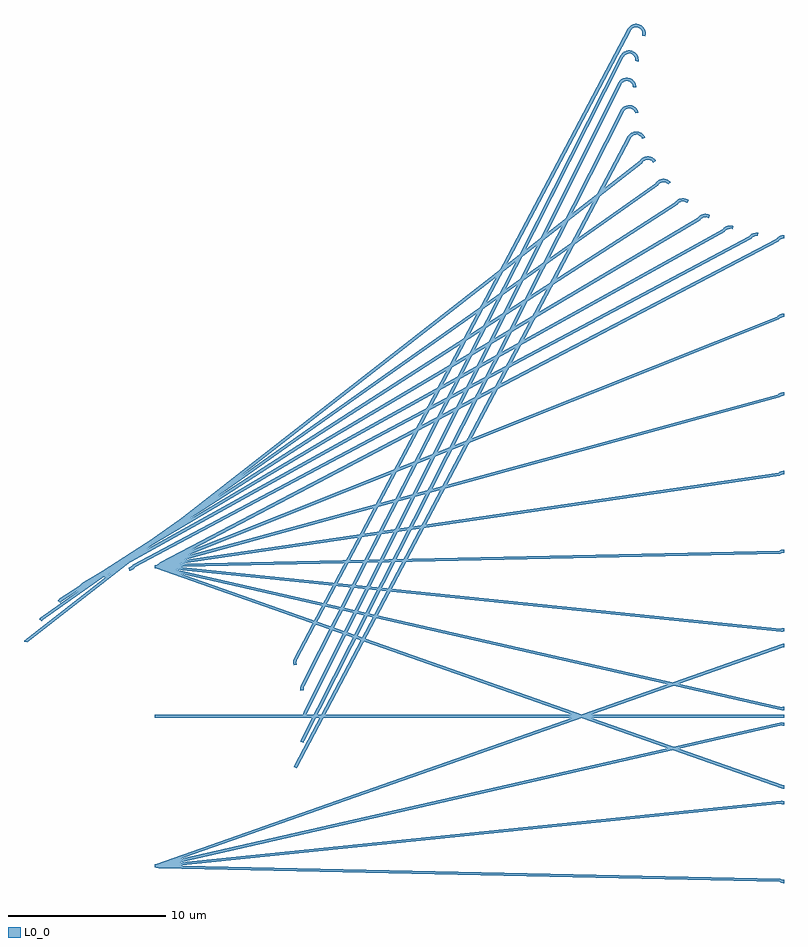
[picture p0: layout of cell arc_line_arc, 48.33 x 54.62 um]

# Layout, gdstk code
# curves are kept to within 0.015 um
import gdstk
lib = gdstk.Library(unit=1e-6, precision=5e-09)
def R(c, l, rs):  # rectangles x0, y0, x1, y1
    for r in rs: c.add(gdstk.rectangle(r[:2], r[2:], *l))
def P(c, l, *ps):  # polygons
    for p in ps: c.add(gdstk.Polygon(p, *l))
L0_0 = (0, 0)

arc_line_arc = lib.new_cell('arc_line_arc')
R(arc_line_arc, L0_0, [(0,-0.1,40,0.1)])
P(arc_line_arc, L0_0, [(0,9.6),(0.155,9.63),(0.28,9.71),(0.335,9.78),(39.535,30.38),(39.705,30.525),(39.845,30.58),(40,30.6),(40,30.4),(39.845,30.37),(39.72,30.29),(39.665,30.22),(0.465,9.62),(0.295,9.475),(0.155,9.42),(0,9.4)],
  [(-1.67,9.455),(-1.545,9.495),(-1.4,9.63),(37.8,30.53),(37.96,30.675),(38.19,30.75),(38.37,30.745),(38.33,30.545),(38.21,30.55),(38.075,30.505),(37.92,30.37),(-1.27,9.47),(-1.43,9.33),(-1.63,9.255)],
  [(-3.285,9.02),(-3.145,9.105),(-3.08,9.18),(36.11,30.97),(36.275,31.125),(36.51,31.2),(36.77,31.175),(36.73,30.975),(36.585,31.005),(36.475,30.99),(36.375,30.945),(36.24,30.82),(-2.95,9.03),(-3.155,8.855),(-3.215,8.83)],
  [(-4.81,8.305),(-4.72,8.37),(-4.66,8.45),(34.52,31.7),(34.71,31.87),(34.945,31.94),(35.09,31.935),(35.285,31.87),(35.215,31.68),(35.02,31.74),(34.82,31.7),(34.705,31.615),(34.66,31.55),(-4.52,8.3),(-4.69,8.145)],
  [(-6.185,7.335),(-6.08,7.46),(33.085,32.69),(33.29,32.875),(33.525,32.94),(33.625,32.94),(33.86,32.87),(33.955,32.805),(33.835,32.645),(33.725,32.71),(33.605,32.74),(33.445,32.72),(33.35,32.67),(33.225,32.54),(-5.94,7.31),(-6.025,7.215)],
  [(-7.355,6.165),(-7.315,6.23),(31.835,33.9),(32.045,34.1),(32.28,34.17),(32.4,34.17),(32.615,34.11),(32.795,33.965),(32.655,33.825),(32.515,33.93),(32.38,33.97),(32.22,33.955),(32.08,33.88),(31.995,33.77),(-7.155,6.1),(-7.195,6.045)],
  [(-8.325,4.75),(-8.325,4.805),(30.83,35.31),(30.91,35.42),(31.03,35.52),(31.29,35.6),(31.53,35.57),(31.65,35.515),(31.83,35.35),(31.855,35.31),(31.695,35.19),(31.61,35.295),(31.47,35.38),(31.31,35.4),(31.185,35.37),(31.085,35.31),(30.98,35.18),(-8.125,4.705),(-8.125,4.75)],
  [(8.835,-3.205),(30.075,36.87),(30.255,37.07),(30.445,37.16),(30.66,37.18),(30.87,37.12),(31.06,36.97),(31.17,36.785),(30.98,36.715),(30.865,36.885),(30.72,36.965),(30.585,36.98),(30.415,36.935),(30.305,36.85),(30.245,36.76),(9.015,-3.295)],
  [(9.255,-1.63),(9.31,-1.465),(29.615,38.54),(29.75,38.71),(29.87,38.8),(29.965,38.835),(30.185,38.865),(30.445,38.79),(30.635,38.62),(30.685,38.545),(30.745,38.37),(30.545,38.33),(30.515,38.435),(30.45,38.535),(30.315,38.63),(30.215,38.66),(30.025,38.645),(29.88,38.56),(29.815,38.48),(9.48,-1.57),(9.455,-1.67)],
  [(9.4,0),(9.45,0.245),(29.475,40.295),(29.615,40.46),(29.775,40.56),(30.05,40.6),(30.26,40.545),(30.43,40.42),(30.51,40.32),(30.58,40.155),(30.6,40),(30.4,40),(30.375,40.145),(30.33,40.23),(30.255,40.31),(30.11,40.385),(29.97,40.4),(29.845,40.37),(29.71,40.28),(29.665,40.215),(9.625,0.145),(9.6,0)],
  [(9.255,1.63),(9.25,1.81),(9.31,2.005),(29.64,42.06),(29.825,42.245),(30.02,42.325),(30.205,42.335),(30.445,42.265),(30.61,42.125),(30.695,42),(30.745,41.84),(30.745,41.63),(30.545,41.67),(30.545,41.825),(30.49,41.95),(30.415,42.04),(30.265,42.12),(30.03,42.12),(29.865,42.02),(29.79,41.91),(9.49,1.925),(9.45,1.79),(9.455,1.67)],
  [(8.825,3.23),(8.795,3.44),(8.865,3.695),(30.075,43.71),(30.255,43.91),(30.48,44.01),(30.73,44.01),(30.9,43.945),(31.05,43.82),(31.15,43.68),(31.205,43.435),(31.175,43.23),(30.975,43.27),(31.005,43.41),(30.975,43.575),(30.87,43.72),(30.72,43.805),(30.565,43.82),(30.425,43.78),(30.32,43.705),(30.245,43.6),(9.045,3.615),(8.995,3.42),(9.025,3.27)],
  [(0,-9.4),(0.16,-9.42),(0.265,-9.465),(39.77,-10.335),(39.9,-10.39),(40,-10.4),(40,-10.6),(39.84,-10.58),(39.735,-10.535),(0.23,-9.665),(0.1,-9.61),(0,-9.6)],
  [(0,-9.4),(0.21,-9.44),(39.83,-5.36),(40,-5.4),(40,-5.6),(39.79,-5.56),(0.17,-9.64),(0,-9.6)],
  [(0,-9.4),(0.13,-9.415),(39.87,-0.385),(40,-0.4),(40,-0.6),(39.87,-0.585),(0.13,-9.615),(0,-9.6)],
  [(0,-9.4),(0.055,-9.4),(0.06,-9.4),(39.93,4.61),(39.965,4.6),(40,4.6),(40,4.4),(39.945,4.4),(39.94,4.4),(0.07,-9.61),(0.035,-9.6),(0,-9.6)],
  [(0,9.6),(0.035,9.6),(0.07,9.61),(39.94,-4.4),(39.945,-4.4),(40,-4.4),(40,-4.6),(39.965,-4.6),(39.93,-4.61),(0.06,9.4),(0.055,9.4),(0,9.4)],
  [(0,9.6),(0.13,9.615),(39.87,0.585),(40,0.6),(40,0.4),(39.87,0.385),(0.13,9.415),(0,9.4)],
  [(0,9.6),(0.17,9.64),(39.79,5.56),(40,5.6),(40,5.4),(39.83,5.36),(0.21,9.44),(0,9.4)],
  [(0,9.6),(0.1,9.61),(0.23,9.665),(39.735,10.535),(39.84,10.58),(40,10.6),(40,10.4),(39.9,10.39),(39.77,10.335),(0.265,9.465),(0.035,9.4),(0,9.4)],
  [(0,9.6),(0.115,9.615),(0.26,9.695),(39.66,15.495),(39.825,15.575),(40,15.6),(40,15.4),(39.885,15.385),(39.74,15.305),(0.34,9.505),(0.175,9.425),(0.06,9.4),(0,9.4)],
  [(0,9.6),(0.18,9.64),(0.29,9.725),(39.61,20.455),(39.815,20.575),(40,20.6),(40,20.4),(39.82,20.36),(39.71,20.275),(0.39,9.545),(0.185,9.425),(0,9.4)],
  [(0,9.6),(0.155,9.63),(0.32,9.755),(39.57,25.415),(39.71,25.53),(39.855,25.585),(40,25.6),(40,25.4),(39.845,25.37),(39.68,25.245),(0.43,9.585),(0.29,9.47),(0.145,9.415),(0,9.4)])

lib.write_gds('arc_line_arc.gds')
